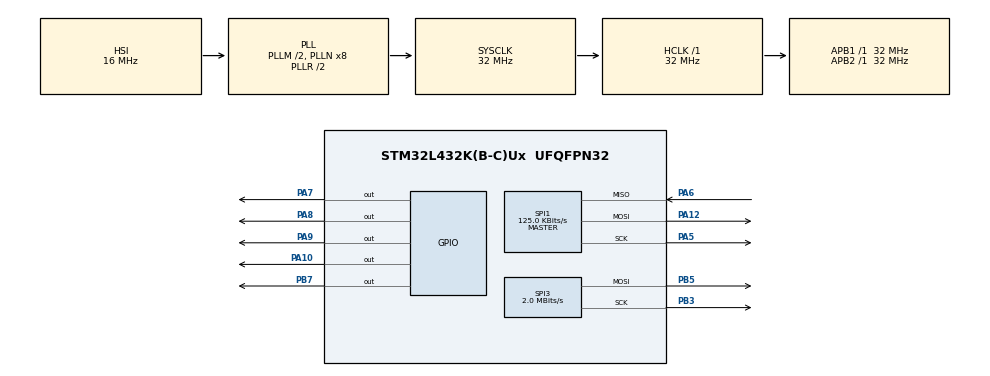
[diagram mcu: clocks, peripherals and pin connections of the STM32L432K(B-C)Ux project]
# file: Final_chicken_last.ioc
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Mcu.Family=STM32L4
Mcu.Name=STM32L432K(B-C)Ux
Mcu.Package=UFQFPN32
NVIC.PriorityGroup=NVIC_PRIORITYGROUP_4
PA10.Signal=GPIO_Output
PA12.Mode=Full_Duplex_Master
PA12.Signal=SPI1_MOSI
PA5.Mode=Full_Duplex_Master
PA5.Signal=SPI1_SCK
PA6.Mode=Full_Duplex_Master
PA6.Signal=SPI1_MISO
PA7.GPIO_Speed=GPIO_SPEED_FREQ_VERY_HIGH
PA7.Signal=GPIO_Output
PA8.GPIO_Speed=GPIO_SPEED_FREQ_VERY_HIGH
PA8.Signal=GPIO_Output
PA9.GPIO_Speed=GPIO_SPEED_FREQ_VERY_HIGH
PA9.Signal=GPIO_Output
PB3\ (JTDO-TRACESWO).Mode=TX_Only_Simplex_Unidirect_Master
PB3\ (JTDO-TRACESWO).Signal=SPI3_SCK
PB5.Mode=TX_Only_Simplex_Unidirect_Master
PB5.Signal=SPI3_MOSI
PB7.GPIO_FM7=SYSCFG_FASTMODEPLUS_PB7
PB7.GPIO_Speed=GPIO_SPEED_FREQ_VERY_HIGH
PB7.Signal=GPIO_Output
ProjectManager.HeapSize=0x200
ProjectManager.StackSize=0x400
ProjectManager.TargetToolchain=STM32CubeIDE
RCC.ADCFreq_Value=32000000
RCC.AHBFreq_Value=32000000
RCC.APB1Freq_Value=32000000
RCC.APB1TimFreq_Value=32000000
RCC.APB2Freq_Value=32000000
RCC.APB2TimFreq_Value=32000000
RCC.CortexFreq_Value=32000000
RCC.HCLKFreq_Value=32000000
RCC.HSE_VALUE=8000000
RCC.HSI48_VALUE=48000000
RCC.HSI_VALUE=16000000
RCC.LSE_VALUE=32768
RCC.MSIClockRange=RCC_MSIRANGE_10
RCC.MSI_VALUE=32000000
RCC.PLLM=2
RCC.PLLSourceVirtual=RCC_PLLSOURCE_HSI
RCC.SYSCLKFreq_VALUE=32000000
RCC.SYSCLKSource=RCC_SYSCLKSOURCE_PLLCLK
RCC.USBFreq_Value=32000000
RCC.VCOOutputFreq_Value=64000000
SPI1.BaudRatePrescaler=SPI_BAUDRATEPRESCALER_256
SPI1.CalculateBaudRate=125.0 KBits/s
SPI1.DataSize=SPI_DATASIZE_8BIT
SPI1.Direction=SPI_DIRECTION_2LINES
SPI1.Mode=SPI_MODE_MASTER
SPI1.VirtualType=VM_MASTER
SPI3.BaudRatePrescaler=SPI_BAUDRATEPRESCALER_16
SPI3.CalculateBaudRate=2.0 MBits/s
SPI3.DataSize=SPI_DATASIZE_8BIT
SPI3.Direction=SPI_DIRECTION_2LINES
SPI3.Mode=SPI_MODE_MASTER
SPI3.VirtualType=VM_MASTER
board=custom

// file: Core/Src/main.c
/* USER CODE BEGIN Header */
/**
  ******************************************************************************
  * @file           : main.c
  * @brief          : Main program body
  ******************************************************************************
  * @attention
  *
  * Copyright (c) 2024 STMicroelectronics.
  * All rights reserved.
  *
  * This software is licensed under terms that can be found in the LICENSE file
  * in the root directory of this software component.
  * If no LICENSE file comes with this software, it is provided AS-IS.
  *
  ******************************************************************************
  */
/* USER CODE END Header */
#include "main.h"

/* USER CODE BEGIN Includes */

#include "ssd1306.h"
#include "ee.h"
#include "ee.c"
#include <stdio.h>
/* USER CODE END Includes */

/* USER CODE BEGIN PTD */

//PA6 (a5 pin) is 3.3v power supply to joystick
 uint8_t menu_Cursor;
 uint8_t shop_Cursor;

typedef struct saved_Data{
	// uint8_t
	 uint8_t hunger;
	 uint8_t money;
	 uint8_t flower;
	 uint8_t hat;
 }saved_Data;
volatile saved_Data saved_stats;

typedef struct joystick_pos{
	// uint8_t
	 uint16_t x;
	 uint16_t y;
}joystick_pos;
joystick_pos joystick;

/* USER CODE END PTD */

/* USER CODE BEGIN PD */

void setChick(int level){ //update the character on screen
	if(level==0)
		ssd1306_DrawBitmap(68, 15, chick_sad_01, 64, 48, White); //set to sad character
	else if(level==1)
		ssd1306_DrawBitmap(68, 15, chick_love_01, 64, 48, White); //set to happy character
	else if(level==2){                                            //draw to main character with current equipment on
		if(saved_stats.flower == 1 && saved_stats.hat == 1)
			ssd1306_DrawBitmap(62, 7, hat_flower_chick, 64, 58, White);
		else if(saved_stats.hat == 1)
			ssd1306_DrawBitmap(68, 7, hat_chick, 64, 58, White);
		else if(saved_stats.flower == 1)
			ssd1306_DrawBitmap(62, 15, flower_chick, 64, 48, White);
		else
			ssd1306_DrawBitmap(68, 15, chick_01, 64,48 , White);
	}

	ssd1306_UpdateScreen();
	return;
}

void setMenuCursor(int x){
	//clear old cursor, put new one
	ssd1306_FillRectangle(2, menu_Cursor*12, 5, menu_Cursor*12+3, Black);
	//1 is move up, 2 is move down;
	if(x==1 && menu_Cursor>1)
	menu_Cursor--;
	else if((x == 2) && (menu_Cursor<4)) //check to move up or down and error check
		menu_Cursor++;  //move cursor down
	ssd1306_FillRectangle(2, menu_Cursor*12, 5, menu_Cursor*12+3, White);
	ssd1306_UpdateScreen();

}

void setShopCursor(int x){
	//clear old cursor, put new one
	ssd1306_FillRectangle(shop_Cursor*35+5, 40,shop_Cursor*35+15,43 , Black);
	//1 is move up, 2 is move down;
	if(x==1 && shop_Cursor>0)
		shop_Cursor--;
	else if(x==2 && shop_Cursor<4)
		shop_Cursor++;

	ssd1306_FillRectangle(shop_Cursor*35+5, 40,shop_Cursor*35+15,43 , White);
	ssd1306_UpdateScreen();

}

void setMenu(){
	char* hun[7];
	uint16_t x,y;	//char* shop={'S','h','o','p','\n'};
	x=10;y=10;
	ssd1306_SetCursor(x, y);
	ssd1306_WriteString("shop\n", Font_7x10, White);
	y+=12;x=10;

	ssd1306_SetCursor(x, y);
	ssd1306_WriteString("game\n", Font_7x10, White);
	y+=12;x=10;

	ssd1306_SetCursor(x, y);
	ssd1306_WriteString("hunger\n", Font_7x10, White);
	y+=12;x=10;

	ssd1306_SetCursor(x, y);
	sprintf(hun, "%d", saved_stats.hunger);
	hun[3]='%';
	ssd1306_WriteString(hun, Font_7x10, White);

	setMenuCursor(1);

}
void setshop(){
	shop_Cursor=0;
	ssd1306_Fill(Black);
	char* mun[7];
	uint16_t x,y;
	x=10;y=2;
	ssd1306_SetCursor(x, y);
	ssd1306_WriteString("Money\n", Font_6x8, White);
	y+=12;x=10;

	sprintf(mun, "%d", saved_stats.money);
	mun[3]='%';
		//hun[4]='\n';
	ssd1306_SetCursor(x, y);
	ssd1306_WriteString(mun, Font_6x8, White);

	ssd1306_DrawBitmap(40,4 , hat_small, 40, 40, White);
	ssd1306_SetCursor(40, 30);
	ssd1306_WriteString("Hat\n", Font_6x8, White);

	ssd1306_DrawBitmap(75,4 , flower_shop, 40, 40, White);
	ssd1306_SetCursor(75, 30);
	ssd1306_WriteString("FLWR\n", Font_6x8, White);

	ssd1306_SetCursor(2, 30);
	ssd1306_WriteString("menu\n", Font_6x8, White);

	ssd1306_SetCursor(70, 55);

	if(saved_stats.flower==0 ||saved_stats.flower==255)
		ssd1306_WriteString("40$", Font_6x8, White);
	else if(saved_stats.flower==1)
		ssd1306_WriteString("on", Font_6x8, White);
	else if(saved_stats.flower==2)
		ssd1306_WriteString("off", Font_6x8, White);

	ssd1306_SetCursor(45, 55);
	if(saved_stats.hat==0 ||saved_stats.hat==255)
		ssd1306_WriteString("40$", Font_6x8, White);
	else if(saved_stats.hat==1)
		ssd1306_WriteString("on", Font_6x8, White);
	else if(saved_stats.hat==2)
			ssd1306_WriteString("off", Font_6x8, White);

	ssd1306_UpdateScreen();
	setShopCursor(0);
return;
}

void save_stats(){

	//return;

	  FLASH_EraseInitTypeDef s_eraseinit;
	  uint32_t page_error;

	  s_eraseinit.TypeErase   = FLASH_TYPEERASE_PAGES;
	  s_eraseinit.NbPages     = 1;
	  s_eraseinit.Page        = 126;
	  s_eraseinit.Banks       = 1;

	     HAL_FLASH_Unlock();
	     __HAL_FLASH_CLEAR_FLAG(FLASH_FLAG_EOP | FLASH_FLAG_OPERR | FLASH_FLAG_WRPERR | FLASH_FLAG_PGAERR | FLASH_FLAG_PGSERR );
	     HAL_FLASHEx_Erase(&s_eraseinit, &page_error);

	     //HAL_FLASH_Program(FLASH_TYPEPROGRAM_DOUBLEWORD,0x803f0000, &saved_stats);

	     ee_write(0, sizeof(saved_stats), &saved_stats);
	      HAL_FLASH_Lock();

}

void check_joystick(){
	  //HAL_ADC_Start(&hadc1);
	//  HAL_ADC_Start(&hadc2);
	//  HAL_ADC_PollForConversion(&hadc1,HAL_MAX_DELAY);
	//  joystick.y=HAL_ADC_GetValue(&hadc1);
	//  HAL_ADC_PollForConversion(&hadc2,HAL_MAX_DELAY);
	//  joystick.x=HAL_ADC_GetValue(&hadc2);
	return;
}

/* USER CODE END PD */

SPI_HandleTypeDef hspi1;
SPI_HandleTypeDef hspi3;

void SystemClock_Config(void);
static void MX_GPIO_Init(void);
static void MX_SPI1_Init(void);
static void MX_SPI3_Init(void);

int main(void)
{

  /* MCU Configuration--------------------------------------------------------*/

  /* Reset of all peripherals, Initializes the Flash interface and the Systick. */
  HAL_Init();

  /* Configure the system clock */
  SystemClock_Config();

  /* Initialize all configured peripherals */
  MX_GPIO_Init();
  MX_SPI1_Init();
  MX_SPI3_Init();
  /* USER CODE BEGIN 2 */
    ssd1306_Init();
    ssd1306_Fill(White);
	//ssd1306_DrawBitmap(68, 15, chick_01, 64,48 , Black);
	//uint8_t data[2];
//	data[0]=0xFA;
	//data[1]=0xAF;

	//HAL_SPI_Transmit(&hspi3, data, 2, HAL_MAX_DELAY);
	ssd1306_UpdateScreen();
	HAL_Delay(500);

	ee_read(0,sizeof(saved_stats),&saved_stats);

	saved_stats.hat=0;
	saved_stats.flower=0;
	saved_stats.hunger++;
	saved_stats.money=0;

	//if(saved_stats.money==255)
	//saved_stats.money=0;

	//if(saved_stats.hunger==255)
	//saved_stats.hunger=1;
	HAL_Delay(400);
	save_stats();
	ee_read(0,sizeof(saved_stats),&saved_stats);

	uint8_t game_mode=0;
	uint8_t chick=0;

  /* USER CODE END 2 */

  /* Infinite loop */
  while (1)
  {

    /* USER CODE BEGIN 3 */

	  switch(game_mode){

	  	  case 0: ssd1306_Fill(Black);
	  		  	  setChick(chick);
	  	  	  	  setMenu();
	  	  	  	  if(chick!=2){
	  	  	  		  HAL_Delay(1700);
	  	  	  		  chick=2;
	  	  	  		ssd1306_FillRectangle(62,7,128,64, Black);
	  	  	  		  setChick(chick);
	  	  	  	  }

	  	  	  	HAL_Delay(100);
	  		  while(1){

	  			HAL_Delay(2000);
	  			ssd1306_UpdateScreen();
	  			 /*
	  	  	  	  check_joystick();
	  	  		  if(joystick.y<800){

	  	  			  setMenuCursor(1);
	  	  			HAL_Delay(500);
	  	  		  }
	  	  		  else if(joystick.y>3500){

	  	  		setMenuCursor(2);
	  	  		HAL_Delay(500);
	  	  		}

	  	  		  if(GPIO_PIN_RESET==HAL_GPIO_ReadPin(GPIOA, GPIO_PIN_7)){

	  	  			  if(menu_Cursor==1)
	  	  				  game_mode=1;
	  	  			  else if(menu_Cursor==2)
	  	  				  game_mode=2;
	  	  			  break;
	  	  			HAL_Delay(100);
	  	  		  }

	  	  		  */
	  			HAL_Delay(500);
	  		  }

	  	  break;
	  	  case 1:
	  		//  setShop();
	  		  setshop();
	  		  HAL_Delay(200);
	  		  while(1){

	  	  	  	  check_joystick();
	  	  		  if(joystick.x<800){

	  	  			  setShopCursor(1);
	  	  			HAL_Delay(500);
	  	  		  }
	  	  		  else if(joystick.x>3500){

	  	  		setShopCursor(2);
	  	  		HAL_Delay(500);
	  	  		}
	  	  		  if(GPIO_PIN_RESET==HAL_GPIO_ReadPin(GPIOA, GPIO_PIN_7)){
	  	  			  while(GPIO_PIN_RESET==HAL_GPIO_ReadPin(GPIOA, GPIO_PIN_7)){
	  	  				  HAL_Delay(10);
	  	  			  }
	  	  			HAL_Delay(30);
	  	  			  if(shop_Cursor==0){
	  	  				game_mode=0;
	  	  				HAL_Delay(10);
	  	  				break;
	  	  			  }

	  	  			  else if(shop_Cursor==1){

	  	  				  if(saved_stats.hat==1){
	  	  					  saved_stats.hat=2; //hat owned, off
	  			  				ssd1306_SetCursor(45, 55);
	  			  				ssd1306_WriteString("off", Font_6x8, White);
	  			  				ssd1306_UpdateScreen();

	  	  				  }
	  	  				else if(saved_stats.hat==2){
	  	  					saved_stats.hat=1; //hat owned, off
	  		  				ssd1306_SetCursor(45, 55);
	  		  				ssd1306_WriteString("on ", Font_6x8, White);
	  		  				ssd1306_UpdateScreen();
	  	  				}
	  	  			  else if(saved_stats.money>39){
	  	  			  				  saved_stats.hat=1;//hat owned, and on
	  	  			  				  saved_stats.money=saved_stats.money-40;
	  	  			  				  chick=1;
	  	  			  				ssd1306_SetCursor(45, 55);
	  	  			  				ssd1306_WriteString("on ", Font_6x8, White);

	  	  			  			char* mun[7];
	  	  			  			ssd1306_SetCursor(10, 14);
	  	  			  			sprintf(mun, "%d", saved_stats.money);
	  	  			  			mun[3]='%';
	  	  			  			ssd1306_WriteString(mun, Font_6x8, White);

	  	  			  				ssd1306_UpdateScreen();
	  	  			  				//save_stats();
	  	  		  				  }

	  	  			  }
	  	  			  else if(shop_Cursor==2){

	  	  				  if(saved_stats.flower==1){
	  	  					  saved_stats.flower=2; //hat owned, off
	  			  				ssd1306_SetCursor(70, 55);
	  			  				ssd1306_WriteString("off", Font_6x8, White);
	  			  				ssd1306_UpdateScreen();

	  	  				  }
	  	  				else if(saved_stats.flower==2){
	  	  					saved_stats.flower=1; //hat owned, off
	  		  				ssd1306_SetCursor(70, 55);
	  		  				ssd1306_WriteString("on ", Font_6x8, White);
	  		  				ssd1306_UpdateScreen();
	  	  				}
	  	  				else if(saved_stats.money>49){
	  		  				  saved_stats.flower=1;//hat owned, and on
	  		  				  saved_stats.money=saved_stats.money-50;
	  		  				ssd1306_SetCursor(70, 55);
	  		  				ssd1306_WriteString("on ", Font_6x8, White);
	  		  				chick=1;//show the love chick for a sec after leaving shop
	    			  			char* mun[7];
	    			  			ssd1306_SetCursor(10, 14);
	    			  			sprintf(mun, "%d", saved_stats.money);
	    			  			mun[3]='%';
	    			  			ssd1306_WriteString(mun, Font_6x8, White);

	  		  				ssd1306_UpdateScreen();
	  		  				//save_stats();
	  	  				  }

	  	  			  }
	  	  		  }
	  		  }

	  	//  break;

	  	  case 2:
	  		  ssd1306_Fill(Black);
	  		  uint8_t snakex[255];
	  		  uint8_t snakey[255];
	  		  uint8_t foodx=12*5;
	  		  uint8_t foody=8*5;
	  		  uint8_t head=1;
	  		  uint8_t randomishx=12;
	  		  uint8_t randomishy=8;
	  		  ssd1306_FillRectangle(foodx,foody,foodx+5,foody+4, White);//food first box
	  		  uint8_t i=0;
	  		  uint8_t tail=0;
	  		  uint8_t snake_bad=0;
	  		  uint8_t snakelen=0;
	  		  snakex[0]=0;snakey[0]=0;
	  		  snakex[1]=0;snakey[1]=0;
	  		  uint8_t direction=0;//0=right, 1=left, 2 = down, 3=up
	  		  ssd1306_UpdateScreen();
	  		  while(1){

	  				 ssd1306_FillRectangle(snakex[tail],snakey[tail],snakex[tail]+5,snakey[tail]+5, Black);
	  				 ssd1306_FillRectangle(snakex[head],snakey[head],snakex[head]+5,snakey[head]+5, White);
	  				 ssd1306_UpdateScreen();

	  				 i=tail;
	  				 if(head!=tail+1)
	  				 while(i!=head){
	  					 if(i==head)
	  						 break;
	  					if(snakex[head]==snakex[i] && snakey[head]==snakey[i] ){
	  						snake_bad=1;
	  						break;
	  					}
	  					i++;
	  				 }
	  				 if (snakex[head]>125 || snakey[head]>60 ||snake_bad){//out of bounds-gameover
	  					 ssd1306_Fill(Black);
	  					 ssd1306_SetCursor(2, 5);
	  					 uint8_t scorei=head-tail-4;
	  					 if(scorei<4){
	  					 ssd1306_WriteString("you can do better\n", Font_7x10, White);
	  					 chick=0;
	  					 }
	  					 else if(scorei<8)
	  					 ssd1306_WriteString("okok good stuff!\n", Font_7x10, White);
	  					 else if(scorei<12){
	  					 ssd1306_WriteString("nice score!\n", Font_7x10, White);
	  					 chick=1;
	  					 }
	  					 else{
	  						 chick=1;
	  					 ssd1306_WriteString("S loves Z!\n", Font_7x10, White);
	  					 }

	  					 ssd1306_SetCursor(2, 20);
	  					 char score[4];
	  					 ssd1306_WriteString("score: ", Font_7x10, White);
	  					 ssd1306_SetCursor(51, 20);
	  					  sprintf(score, "%d", scorei);
	  					  ssd1306_WriteString(score, Font_7x10, White);
	  					  saved_stats.money+=(scorei);
	  					  ssd1306_UpdateScreen();

	  					 while(1){
	  						 HAL_Delay(20);
	  					 if(GPIO_PIN_RESET==HAL_GPIO_ReadPin(GPIOA, GPIO_PIN_7)){
	  					 game_mode=0;
	  					 HAL_Delay(20);
	  					 while(1){
	  						 if(GPIO_PIN_SET==HAL_GPIO_ReadPin(GPIOA, GPIO_PIN_7))
	  							 break;
	  					 }
	  					 break;
	  					 }
	  					 }
	  				 }
	  				 if(game_mode==0)
	  					 break;
	  				 HAL_Delay(230);

	  			 check_joystick();

	  	 		  if(joystick.x<800 && direction!=0){
	  	 			  direction=1;
	  		  		  }
	  		  	else if(joystick.x>3500 &&direction!=1){
	  		  		direction=0;
	  		  	}
	  		  	else if(joystick.y>3500 && direction!=3){
	  		  		direction=2;
	  		  	}
	  		  	else if(joystick.y<800 && direction!=2){
	  		  		direction=3;
	  		  }

	  			 //move snake forward
	  			 if(direction==0){ //right
	  			 snakex[head+1]=snakex[head]+5;
	  			 snakey[head+1]=snakey[head];
	  			 }
	  			 else if(direction==1){//left
	  				 snakex[head+1]=snakex[head]-5;
	  			 snakey[head+1]=snakey[head];
	  			 }
	  			 else if(direction==3){//up
	  				 snakey[head+1]=snakey[head]-5;
	  			 snakex[head+1]=snakex[head];
	  			 }
	  			 else if(direction==2){//down
	  			 snakey[head+1]=snakey[head]+5;
	  			 snakex[head+1]=snakex[head];
	  			 }
	  			 head++;

	  			 if(snakex[head]==foodx && snakey[head]==foody){//on food box,

	  				 foodx=((HAL_GetTick()%23)+1)*5;//semi random way to set new food location
	  				 foody=((HAL_GetTick()>>4)%11)*5;

	  				 ssd1306_FillRectangle(foodx,foody,foodx+5,foody+5, White);//move food box

	  			 }
	  			 else if(head>4)
	  			 tail++;//if on a food don't move tail forward(make snake larger)
	  				 }

	  			 }
	  			 ssd1306_UpdateScreen();

	  		  }

  /* USER CODE END 3 */
}

void SystemClock_Config(void)
{
  RCC_OscInitTypeDef RCC_OscInitStruct = {0};
  RCC_ClkInitTypeDef RCC_ClkInitStruct = {0};

  /** Configure the main internal regulator output voltage
  */
  if (HAL_PWREx_ControlVoltageScaling(PWR_REGULATOR_VOLTAGE_SCALE1) != HAL_OK)
  {
    Error_Handler();
  }

  /** Initializes the RCC Oscillators according to the specified parameters
  * in the RCC_OscInitTypeDef structure.
  */
  RCC_OscInitStruct.OscillatorType = RCC_OSCILLATORTYPE_HSI;
  RCC_OscInitStruct.HSIState = RCC_HSI_ON;
  RCC_OscInitStruct.HSICalibrationValue = RCC_HSICALIBRATION_DEFAULT;
  RCC_OscInitStruct.PLL.PLLState = RCC_PLL_ON;
  RCC_OscInitStruct.PLL.PLLSource = RCC_PLLSOURCE_HSI;
  RCC_OscInitStruct.PLL.PLLM = 2;
  RCC_OscInitStruct.PLL.PLLN = 8;
  RCC_OscInitStruct.PLL.PLLP = RCC_PLLP_DIV7;
  RCC_OscInitStruct.PLL.PLLQ = RCC_PLLQ_DIV2;
  RCC_OscInitStruct.PLL.PLLR = RCC_PLLR_DIV2;
  if (HAL_RCC_OscConfig(&RCC_OscInitStruct) != HAL_OK)
  {
    Error_Handler();
  }

  /** Initializes the CPU, AHB and APB buses clocks
  */
  RCC_ClkInitStruct.ClockType = RCC_CLOCKTYPE_HCLK|RCC_CLOCKTYPE_SYSCLK
                              |RCC_CLOCKTYPE_PCLK1|RCC_CLOCKTYPE_PCLK2;
  RCC_ClkInitStruct.SYSCLKSource = RCC_SYSCLKSOURCE_PLLCLK;
  RCC_ClkInitStruct.AHBCLKDivider = RCC_SYSCLK_DIV1;
  RCC_ClkInitStruct.APB1CLKDivider = RCC_HCLK_DIV1;
  RCC_ClkInitStruct.APB2CLKDivider = RCC_HCLK_DIV1;

  if (HAL_RCC_ClockConfig(&RCC_ClkInitStruct, FLASH_LATENCY_1) != HAL_OK)
  {
    Error_Handler();
  }
}

static void MX_SPI1_Init(void)
{

  /* SPI1 parameter configuration*/
  hspi1.Instance = SPI1;
  hspi1.Init.Mode = SPI_MODE_MASTER;
  hspi1.Init.Direction = SPI_DIRECTION_2LINES;
  hspi1.Init.DataSize = SPI_DATASIZE_8BIT;
  hspi1.Init.CLKPolarity = SPI_POLARITY_LOW;
  hspi1.Init.CLKPhase = SPI_PHASE_1EDGE;
  hspi1.Init.NSS = SPI_NSS_SOFT;
  hspi1.Init.BaudRatePrescaler = SPI_BAUDRATEPRESCALER_256;
  hspi1.Init.FirstBit = SPI_FIRSTBIT_MSB;
  hspi1.Init.TIMode = SPI_TIMODE_DISABLE;
  hspi1.Init.CRCCalculation = SPI_CRCCALCULATION_DISABLE;
  hspi1.Init.CRCPolynomial = 7;
  hspi1.Init.CRCLength = SPI_CRC_LENGTH_DATASIZE;
  hspi1.Init.NSSPMode = SPI_NSS_PULSE_ENABLE;
  if (HAL_SPI_Init(&hspi1) != HAL_OK)
  {
    Error_Handler();
  }

}

static void MX_SPI3_Init(void)
{

  /* SPI3 parameter configuration*/
  hspi3.Instance = SPI3;
  hspi3.Init.Mode = SPI_MODE_MASTER;
  hspi3.Init.Direction = SPI_DIRECTION_2LINES;
  hspi3.Init.DataSize = SPI_DATASIZE_8BIT;
  hspi3.Init.CLKPolarity = SPI_POLARITY_LOW;
  hspi3.Init.CLKPhase = SPI_PHASE_1EDGE;
  hspi3.Init.NSS = SPI_NSS_SOFT;
  hspi3.Init.BaudRatePrescaler = SPI_BAUDRATEPRESCALER_16;
  hspi3.Init.FirstBit = SPI_FIRSTBIT_MSB;
  hspi3.Init.TIMode = SPI_TIMODE_DISABLE;
  hspi3.Init.CRCCalculation = SPI_CRCCALCULATION_DISABLE;
  hspi3.Init.CRCPolynomial = 7;
  hspi3.Init.CRCLength = SPI_CRC_LENGTH_DATASIZE;
  hspi3.Init.NSSPMode = SPI_NSS_PULSE_ENABLE;
  if (HAL_SPI_Init(&hspi3) != HAL_OK)
  {
    Error_Handler();
  }

}

static void MX_GPIO_Init(void)
{
  GPIO_InitTypeDef GPIO_InitStruct = {0};

  /* GPIO Ports Clock Enable */
  __HAL_RCC_GPIOA_CLK_ENABLE();
  __HAL_RCC_GPIOB_CLK_ENABLE();

  /*Configure GPIO pin Output Level */
  HAL_GPIO_WritePin(GPIOA, GPIO_PIN_7|GPIO_PIN_8|GPIO_PIN_9|GPIO_PIN_10, GPIO_PIN_RESET);

  /*Configure GPIO pin Output Level */
  HAL_GPIO_WritePin(GPIOB, GPIO_PIN_7, GPIO_PIN_RESET);

  /*Configure GPIO pins : PA7 PA8 PA9 */
  GPIO_InitStruct.Pin = GPIO_PIN_7|GPIO_PIN_8|GPIO_PIN_9;
  GPIO_InitStruct.Mode = GPIO_MODE_OUTPUT_PP;
  GPIO_InitStruct.Pull = GPIO_NOPULL;
  GPIO_InitStruct.Speed = GPIO_SPEED_FREQ_VERY_HIGH;
  HAL_GPIO_Init(GPIOA, &GPIO_InitStruct);

  /*Configure GPIO pin : PA10 */
  GPIO_InitStruct.Pin = GPIO_PIN_10;
  GPIO_InitStruct.Mode = GPIO_MODE_OUTPUT_PP;
  GPIO_InitStruct.Pull = GPIO_NOPULL;
  GPIO_InitStruct.Speed = GPIO_SPEED_FREQ_LOW;
  HAL_GPIO_Init(GPIOA, &GPIO_InitStruct);

  /*Configure GPIO pin : PB7 */
  GPIO_InitStruct.Pin = GPIO_PIN_7;
  GPIO_InitStruct.Mode = GPIO_MODE_OUTPUT_PP;
  GPIO_InitStruct.Pull = GPIO_NOPULL;
  GPIO_InitStruct.Speed = GPIO_SPEED_FREQ_VERY_HIGH;
  HAL_GPIO_Init(GPIOB, &GPIO_InitStruct);

  /**/
  __HAL_SYSCFG_FASTMODEPLUS_ENABLE(SYSCFG_FASTMODEPLUS_PB7);

}

void Error_Handler(void)
{
  __disable_irq();
  while (1)
  {
  }
}
